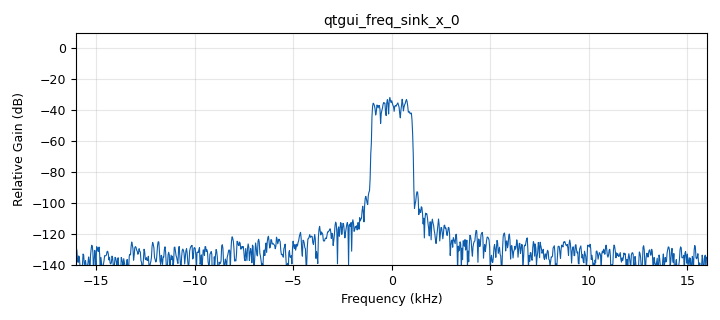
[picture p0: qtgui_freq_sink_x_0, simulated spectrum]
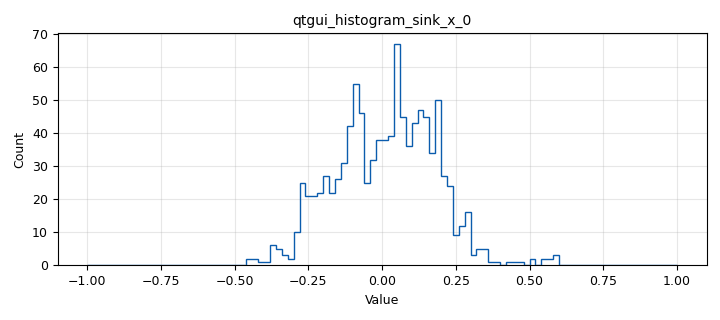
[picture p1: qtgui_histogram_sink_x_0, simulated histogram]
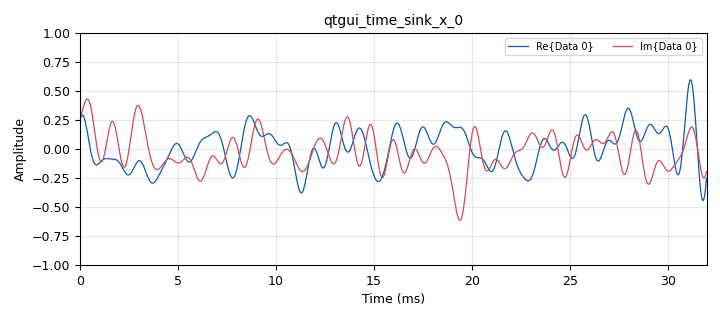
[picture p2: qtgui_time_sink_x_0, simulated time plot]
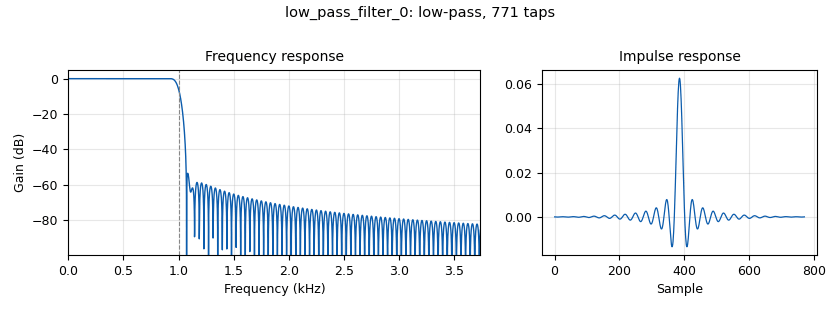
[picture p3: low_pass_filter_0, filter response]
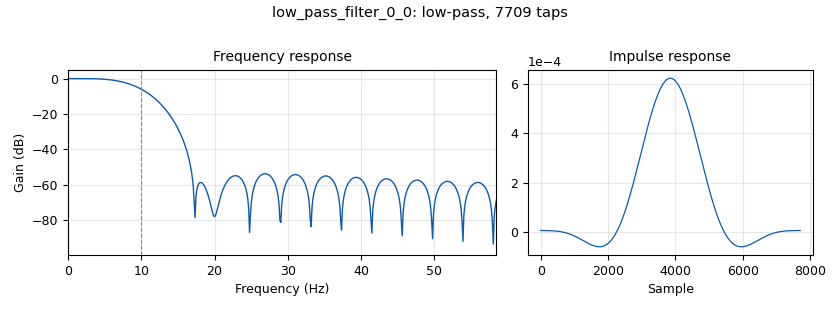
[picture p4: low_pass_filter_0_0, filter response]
<?xml version='1.0' encoding='utf-8'?>
<?grc format='1' created='3.7.11'?>
<flow_graph>
<block>
<key>options</key>
<param><key>id</key><value>Exp1_e</value></param>
<param><key>author</key><value>Bryce Hill</value></param>
<param><key>generate_options</key><value>qt_gui</value></param>
</block>
<block>
<key>variable_qtgui_range</key>
<param><key>id</key><value>A</value></param>
<param><key>value</key><value>1</value></param>
<param><key>gui_hint</key><value>1,1,1,1</value></param>
<param><key>orient</key><value>Qt.Horizontal</value></param>
<param><key>start</key><value>0</value></param>
<param><key>step</key><value>.1</value></param>
<param><key>stop</key><value>2</value></param>
</block>
<block>
<key>variable_qtgui_chooser</key>
<param><key>id</key><value>NoiseType</value></param>
<param><key>value</key><value>103</value></param>
<param><key>gui_hint</key><value>1, 3, 1, 2</value></param>
<param><key>label0</key><value>Uniform</value></param>
<param><key>label1</key><value>Gaussian</value></param>
<param><key>num_opts</key><value>2</value></param>
<param><key>option0</key><value>102</value></param>
<param><key>option1</key><value>103</value></param>
<param><key>type</key><value>int</value></param>
</block>
<block>
<key>variable_qtgui_range</key>
<param><key>id</key><value>f0</value></param>
<param><key>value</key><value>200</value></param>
<param><key>gui_hint</key><value>1,2,1,1</value></param>
<param><key>orient</key><value>Qt.Horizontal</value></param>
<param><key>start</key><value>0</value></param>
<param><key>step</key><value>1</value></param>
<param><key>stop</key><value>1000</value></param>
</block>
<block>
<key>variable_qtgui_range</key>
<param><key>id</key><value>fL</value></param>
<param><key>value</key><value>1000</value></param>
<param><key>gui_hint</key><value>2,2,1,1</value></param>
<param><key>orient</key><value>Qt.Horizontal</value></param>
<param><key>start</key><value>0</value></param>
<param><key>step</key><value>1</value></param>
<param><key>stop</key><value>samp_rate/2</value></param>
</block>
<block>
<key>variable_qtgui_range</key>
<param><key>id</key><value>offset</value></param>
<param><key>value</key><value>0</value></param>
<param><key>gui_hint</key><value>2,1,1,1</value></param>
<param><key>orient</key><value>Qt.Horizontal</value></param>
<param><key>start</key><value>-1</value></param>
<param><key>step</key><value>.01</value></param>
<param><key>stop</key><value>1</value></param>
</block>
<block>
<key>variable</key>
<param><key>id</key><value>samp_rate</value></param>
<param><key>value</key><value>32000</value></param>
</block>
<block>
<key>analog_noise_source_x</key>
<param><key>id</key><value>analog_noise_source_x_0</value></param>
<param><key>amp</key><value>A</value></param>
<param><key>noise_type</key><value>analog.GR_GAUSSIAN</value></param>
<param><key>type</key><value>complex</value></param>
<param><key>seed</key><value>0</value></param>
</block>
<block>
<key>blocks_complex_to_float</key>
<param><key>id</key><value>blocks_complex_to_float_0</value></param>
</block>
<block>
<key>blocks_complex_to_mag_squared</key>
<param><key>id</key><value>blocks_complex_to_mag_squared_0</value></param>
</block>
<block>
<key>blocks_multiply_xx</key>
<param><key>id</key><value>blocks_multiply_xx_0</value></param>
<param><key>type</key><value>float</value></param>
</block>
<block>
<key>blocks_throttle</key>
<param><key>id</key><value>blocks_throttle_0</value></param>
<param><key>samples_per_second</key><value>samp_rate</value></param>
<param><key>type</key><value>complex</value></param>
</block>
<block>
<key>low_pass_filter</key>
<param><key>id</key><value>low_pass_filter_0</value></param>
<param><key>cutoff_freq</key><value>fL</value></param>
<param><key>decim</key><value>1</value></param>
<param><key>type</key><value>fir_filter_ccf</value></param>
<param><key>gain</key><value>1</value></param>
<param><key>samp_rate</key><value>samp_rate</value></param>
<param><key>width</key><value>100</value></param>
<param><key>win</key><value>firdes.WIN_HAMMING</value></param>
</block>
<block>
<key>low_pass_filter</key>
<param><key>id</key><value>low_pass_filter_0_0</value></param>
<param><key>cutoff_freq</key><value>10</value></param>
<param><key>decim</key><value>1</value></param>
<param><key>type</key><value>fir_filter_fff</value></param>
<param><key>gain</key><value>1</value></param>
<param><key>samp_rate</key><value>samp_rate</value></param>
<param><key>width</key><value>10</value></param>
<param><key>win</key><value>firdes.WIN_HAMMING</value></param>
</block>
<block>
<key>low_pass_filter</key>
<param><key>id</key><value>low_pass_filter_0_0_0</value></param>
<param><key>cutoff_freq</key><value>10</value></param>
<param><key>decim</key><value>1</value></param>
<param><key>type</key><value>fir_filter_fff</value></param>
<param><key>gain</key><value>1</value></param>
<param><key>samp_rate</key><value>samp_rate</value></param>
<param><key>width</key><value>10</value></param>
<param><key>win</key><value>firdes.WIN_HAMMING</value></param>
</block>
<block>
<key>note</key>
<param><key>id</key><value>note_0</value></param>
<param><key>note</key><value>Is the triangle wave the most efficient? </value></param>
</block>
<block>
<key>qtgui_freq_sink_x</key>
<param><key>id</key><value>qtgui_freq_sink_x_0</value></param>
<param><key>bw</key><value>samp_rate</value></param>
<param><key>fc</key><value>0</value></param>
<param><key>fftsize</key><value>1024</value></param>
<param><key>gui_hint</key><value>4,1,1,2</value></param>
<param><key>showports</key><value>True</value></param>
<param><key>type</key><value>complex</value></param>
<param><key>wintype</key><value>firdes.WIN_BLACKMAN_hARRIS</value></param>
</block>
<block>
<key>qtgui_histogram_sink_x</key>
<param><key>id</key><value>qtgui_histogram_sink_x_0</value></param>
<param><key>gui_hint</key><value>5,1,1,2</value></param>
<param><key>xmax</key><value>1</value></param>
<param><key>xmin</key><value>-1</value></param>
<param><key>bins</key><value>100</value></param>
<param><key>size</key><value>1024</value></param>
<param><key>type</key><value>float</value></param>
</block>
<block>
<key>qtgui_number_sink</key>
<param><key>id</key><value>qtgui_number_sink_0</value></param>
<param><key>gui_hint</key><value>2,3,4,1</value></param>
<param><key>graph_type</key><value>qtgui.NUM_GRAPH_VERT</value></param>
<param><key>type</key><value>float</value></param>
<param><key>max</key><value>2</value></param>
<param><key>min</key><value>0</value></param>
<param><key>name</key><value>"Total Avg Power"</value></param>
</block>
<block>
<key>qtgui_number_sink</key>
<param><key>id</key><value>qtgui_number_sink_0_0</value></param>
<param><key>gui_hint</key><value>2,4,4,1</value></param>
<param><key>graph_type</key><value>qtgui.NUM_GRAPH_VERT</value></param>
<param><key>type</key><value>float</value></param>
<param><key>max</key><value>2</value></param>
<param><key>min</key><value>0</value></param>
<param><key>name</key><value>"Im Avg Power"</value></param>
</block>
<block>
<key>qtgui_time_sink_x</key>
<param><key>id</key><value>qtgui_time_sink_x_0</value></param>
<param><key>gui_hint</key><value>3,1,1,2</value></param>
<param><key>color1</key><value>"blue"</value></param>
<param><key>label1</key><value></value></param>
<param><key>color2</key><value>"red"</value></param>
<param><key>label2</key><value></value></param>
<param><key>size</key><value>1024</value></param>
<param><key>srate</key><value>samp_rate</value></param>
<param><key>type</key><value>complex</value></param>
</block>
<connection><source_block_id>analog_noise_source_x_0</source_block_id><sink_block_id>blocks_throttle_0</sink_block_id><source_key>0</source_key><sink_key>0</sink_key></connection>
<connection><source_block_id>blocks_complex_to_float_0</source_block_id><sink_block_id>blocks_multiply_xx_0</sink_block_id><source_key>1</source_key><sink_key>0</sink_key></connection>
<connection><source_block_id>blocks_complex_to_float_0</source_block_id><sink_block_id>blocks_multiply_xx_0</sink_block_id><source_key>1</source_key><sink_key>1</sink_key></connection>
<connection><source_block_id>blocks_complex_to_float_0</source_block_id><sink_block_id>qtgui_histogram_sink_x_0</sink_block_id><source_key>0</source_key><sink_key>0</sink_key></connection>
<connection><source_block_id>blocks_complex_to_mag_squared_0</source_block_id><sink_block_id>low_pass_filter_0_0</sink_block_id><source_key>0</source_key><sink_key>0</sink_key></connection>
<connection><source_block_id>blocks_multiply_xx_0</source_block_id><sink_block_id>low_pass_filter_0_0_0</sink_block_id><source_key>0</source_key><sink_key>0</sink_key></connection>
<connection><source_block_id>blocks_throttle_0</source_block_id><sink_block_id>low_pass_filter_0</sink_block_id><source_key>0</source_key><sink_key>0</sink_key></connection>
<connection><source_block_id>low_pass_filter_0</source_block_id><sink_block_id>blocks_complex_to_float_0</sink_block_id><source_key>0</source_key><sink_key>0</sink_key></connection>
<connection><source_block_id>low_pass_filter_0</source_block_id><sink_block_id>blocks_complex_to_mag_squared_0</sink_block_id><source_key>0</source_key><sink_key>0</sink_key></connection>
<connection><source_block_id>low_pass_filter_0</source_block_id><sink_block_id>qtgui_freq_sink_x_0</sink_block_id><source_key>0</source_key><sink_key>0</sink_key></connection>
<connection><source_block_id>low_pass_filter_0</source_block_id><sink_block_id>qtgui_time_sink_x_0</sink_block_id><source_key>0</source_key><sink_key>0</sink_key></connection>
<connection><source_block_id>low_pass_filter_0_0</source_block_id><sink_block_id>qtgui_number_sink_0</sink_block_id><source_key>0</source_key><sink_key>0</sink_key></connection>
<connection><source_block_id>low_pass_filter_0_0_0</source_block_id><sink_block_id>qtgui_number_sink_0_0</sink_block_id><source_key>0</source_key><sink_key>0</sink_key></connection>
</flow_graph>
